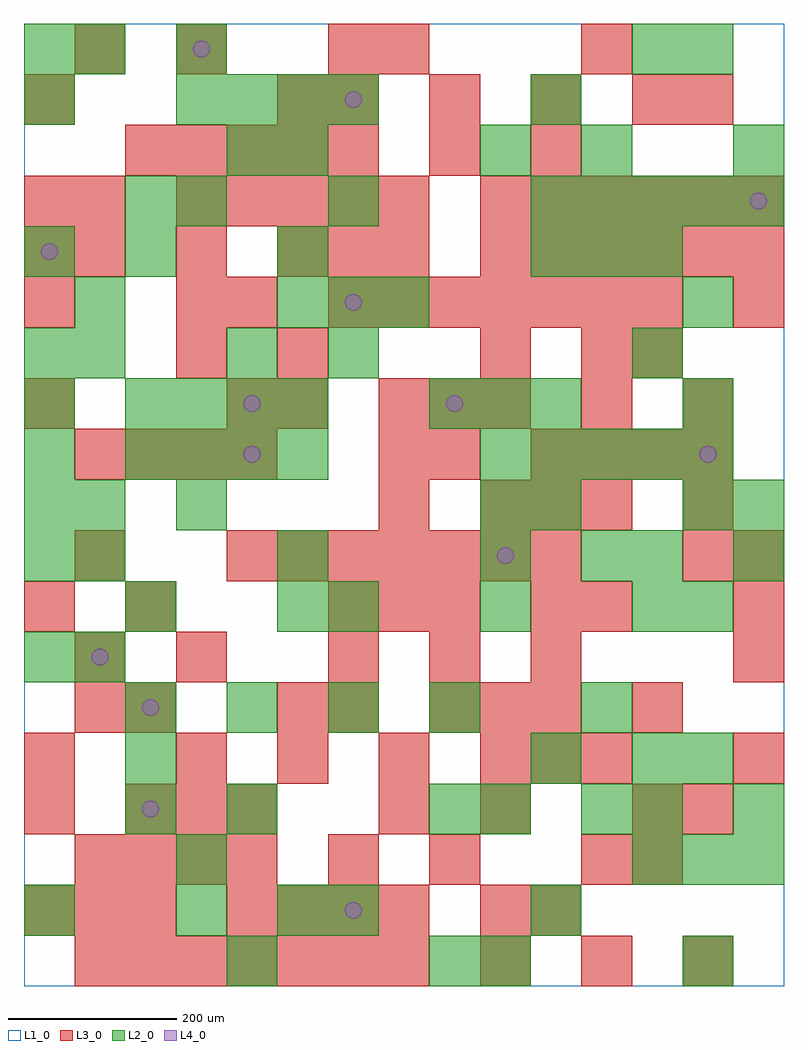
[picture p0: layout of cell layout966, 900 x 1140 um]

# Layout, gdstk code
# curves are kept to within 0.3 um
import gdstk
lib = gdstk.Library(unit=1e-6, precision=1e-09)
def R(c, l, rs):  # rectangles x0, y0, x1, y1
    for r in rs: c.add(gdstk.rectangle(r[:2], r[2:], *l))
def A(c, l, x, y, w, h, nx, ny, dx, dy):  # array of equal rectangles
    R(c, l, [(x+i*dx, y+j*dy, x+i*dx+w, y+j*dy+h) for i in range(nx) for j in range(ny)])
def P(c, l, *ps):  # polygons
    for p in ps: c.add(gdstk.Polygon(p, *l))
L1_0 = (1, 0)
L2_0 = (2, 0)
L3_0 = (3, 0)
L4_0 = (4, 0)

layout966 = lib.new_cell('layout966')
R(layout966, L1_0, [(0,0,900,1140)])
A(layout966, L2_0, 720, 120, 60, 60, 3, 1, 60, 0)
A(layout966, L2_0, 720, 240, 60, 60, 1, 3, 0, 240)
A(layout966, L2_0, 120, 300, 60, 60, 4, 1, 120, 0)
A(layout966, L2_0, 60, 360, 60, 60, 1, 3, 0, 180)
A(layout966, L2_0, 360, 420, 60, 60, 3, 1, 180, 0)
A(layout966, L2_0, 780, 420, 60, 60, 1, 4, 0, 120)
A(layout966, L2_0, 0, 480, 60, 60, 1, 5, 0, 60)
A(layout966, L2_0, 60, 480, 60, 60, 3, 1, 240, 0)
A(layout966, L2_0, 120, 600, 60, 60, 4, 2, 60, 60)
A(layout966, L2_0, 540, 600, 60, 60, 5, 1, 60, 0)
A(layout966, L2_0, 480, 660, 60, 60, 3, 1, 60, 0)
A(layout966, L2_0, 300, 780, 60, 60, 3, 1, 60, 0)
A(layout966, L2_0, 600, 840, 60, 60, 3, 1, 60, 0)
A(layout966, L2_0, 600, 900, 60, 60, 5, 1, 60, 0)
A(layout966, L2_0, 180, 1020, 60, 60, 4, 1, 60, 0)
R(layout966, L2_0, [(240,0,300,60), (480,0,540,60), (540,0,600,60), (780,0,840,60), (0,60,60,120), (180,60,240,120), (300,60,360,120), (360,60,420,120), (600,60,660,120), (180,120,240,180), (120,180,180,240), (240,180,300,240), (480,180,540,240), (540,180,600,240), (660,180,720,240), (720,180,780,240), (840,180,900,240), (120,240,180,300), (600,240,660,300), (780,240,840,300), (660,300,720,360), (0,360,60,420), (120,420,180,480), (300,420,360,480), (660,480,720,540), (840,480,900,540), (180,540,240,600), (540,540,600,600), (600,540,660,600), (840,540,900,600), (240,720,300,780), (360,720,420,780), (60,780,120,840), (0,840,60,900), (120,840,180,900), (300,840,360,900), (120,900,180,960), (180,900,240,960), (360,900,420,960), (240,960,300,1020), (300,960,360,1020), (540,960,600,1020), (660,960,720,1020), (840,960,900,1020), (0,1020,60,1080), (600,1020,660,1080), (0,1080,60,1140), (60,1080,120,1140), (180,1080,240,1140), (720,1080,780,1140), (780,1080,840,1140)])
A(layout966, L3_0, 60, 0, 60, 60, 7, 1, 60, 0)
A(layout966, L3_0, 540, 0, 60, 60, 3, 1, 120, 0)
A(layout966, L3_0, 0, 60, 60, 60, 3, 1, 60, 0)
A(layout966, L3_0, 240, 60, 60, 60, 4, 1, 60, 0)
A(layout966, L3_0, 600, 60, 60, 60, 1, 3, 0, 180)
A(layout966, L3_0, 60, 120, 60, 60, 4, 2, 60, 480)
A(layout966, L3_0, 120, 180, 60, 60, 3, 1, 60, 0)
A(layout966, L3_0, 180, 240, 60, 60, 4, 1, 120, 0)
A(layout966, L3_0, 480, 300, 60, 60, 3, 1, 60, 0)
A(layout966, L3_0, 360, 360, 60, 60, 3, 1, 120, 0)
A(layout966, L3_0, 840, 360, 60, 60, 1, 3, 0, 60)
A(layout966, L3_0, 360, 420, 60, 60, 3, 1, 60, 0)
A(layout966, L3_0, 240, 480, 60, 60, 7, 1, 60, 0)
A(layout966, L3_0, 540, 540, 60, 60, 3, 1, 60, 0)
A(layout966, L3_0, 420, 600, 60, 60, 1, 3, 0, 240)
A(layout966, L3_0, 600, 600, 60, 60, 4, 1, 60, 0)
A(layout966, L3_0, 420, 660, 60, 60, 3, 1, 60, 0)
A(layout966, L3_0, 0, 780, 60, 60, 1, 3, 0, 60)
A(layout966, L3_0, 360, 780, 60, 60, 7, 1, 60, 0)
A(layout966, L3_0, 60, 840, 60, 60, 3, 1, 120, 0)
A(layout966, L3_0, 540, 840, 60, 60, 6, 2, 60, 60)
A(layout966, L3_0, 180, 900, 60, 60, 5, 1, 60, 0)
A(layout966, L3_0, 120, 960, 60, 60, 5, 1, 60, 0)
A(layout966, L3_0, 360, 1020, 60, 60, 4, 1, 120, 0)
R(layout966, L3_0, [(540,60,600,120), (360,120,420,180), (480,120,540,180), (660,120,720,180), (720,120,780,180), (0,180,60,240), (420,180,480,240), (540,180,600,240), (720,180,780,240), (780,180,840,240), (0,240,60,300), (660,240,720,300), (840,240,900,300), (60,300,120,360), (120,300,180,360), (300,300,360,360), (360,300,420,360), (720,300,780,360), (60,360,120,420), (180,360,240,420), (0,420,60,480), (120,420,180,480), (660,420,720,480), (60,480,120,540), (780,480,840,540), (420,540,480,600), (780,540,840,600), (480,600,540,660), (0,660,60,720), (240,660,300,720), (300,660,360,720), (660,660,720,720), (780,660,840,720), (180,720,240,780), (300,720,360,780), (540,720,600,780), (660,720,720,780), (720,720,780,780), (180,780,240,840), (240,780,300,840), (840,780,900,840), (360,840,420,900), (60,900,120,960), (480,960,540,1020), (600,960,660,1020), (0,1020,60,1080), (300,1020,360,1080), (780,1020,840,1080), (60,1080,120,1140), (180,1080,240,1140), (360,1080,420,1140), (660,1080,720,1140)])
P(layout966, L4_0, [(40,870),(39.239,873.827),(37.071,877.071),(33.827,879.239),(30,880),(26.173,879.239),(22.929,877.071),(20.761,873.827),(20,870),(20.761,866.173),(22.929,862.929),(26.173,860.761),(30,860),(33.827,860.761),(37.071,862.929),(39.239,866.173)],
  [(100,390),(99.239,393.827),(97.071,397.071),(93.827,399.239),(90,400),(86.173,399.239),(82.929,397.071),(80.761,393.827),(80,390),(80.761,386.173),(82.929,382.929),(86.173,380.761),(90,380),(93.827,380.761),(97.071,382.929),(99.239,386.173)],
  [(160,210),(159.239,213.827),(157.071,217.071),(153.827,219.239),(150,220),(146.173,219.239),(142.929,217.071),(140.761,213.827),(140,210),(140.761,206.173),(142.929,202.929),(146.173,200.761),(150,200),(153.827,200.761),(157.071,202.929),(159.239,206.173)],
  [(160,330),(159.239,333.827),(157.071,337.071),(153.827,339.239),(150,340),(146.173,339.239),(142.929,337.071),(140.761,333.827),(140,330),(140.761,326.173),(142.929,322.929),(146.173,320.761),(150,320),(153.827,320.761),(157.071,322.929),(159.239,326.173)],
  [(220,1110),(219.239,1113.827),(217.071,1117.071),(213.827,1119.239),(210,1120),(206.173,1119.239),(202.929,1117.071),(200.761,1113.827),(200,1110),(200.761,1106.173),(202.929,1102.929),(206.173,1100.761),(210,1100),(213.827,1100.761),(217.071,1102.929),(219.239,1106.173)],
  [(280,630),(279.239,633.827),(277.071,637.071),(273.827,639.239),(270,640),(266.173,639.239),(262.929,637.071),(260.761,633.827),(260,630),(260.761,626.173),(262.929,622.929),(266.173,620.761),(270,620),(273.827,620.761),(277.071,622.929),(279.239,626.173)],
  [(280,690),(279.239,693.827),(277.071,697.071),(273.827,699.239),(270,700),(266.173,699.239),(262.929,697.071),(260.761,693.827),(260,690),(260.761,686.173),(262.929,682.929),(266.173,680.761),(270,680),(273.827,680.761),(277.071,682.929),(279.239,686.173)],
  [(400,90),(399.239,93.827),(397.071,97.071),(393.827,99.239),(390,100),(386.173,99.239),(382.929,97.071),(380.761,93.827),(380,90),(380.761,86.173),(382.929,82.929),(386.173,80.761),(390,80),(393.827,80.761),(397.071,82.929),(399.239,86.173)],
  [(400,810),(399.239,813.827),(397.071,817.071),(393.827,819.239),(390,820),(386.173,819.239),(382.929,817.071),(380.761,813.827),(380,810),(380.761,806.173),(382.929,802.929),(386.173,800.761),(390,800),(393.827,800.761),(397.071,802.929),(399.239,806.173)],
  [(400,1050),(399.239,1053.827),(397.071,1057.071),(393.827,1059.239),(390,1060),(386.173,1059.239),(382.929,1057.071),(380.761,1053.827),(380,1050),(380.761,1046.173),(382.929,1042.929),(386.173,1040.761),(390,1040),(393.827,1040.761),(397.071,1042.929),(399.239,1046.173)],
  [(520,690),(519.239,693.827),(517.071,697.071),(513.827,699.239),(510,700),(506.173,699.239),(502.929,697.071),(500.761,693.827),(500,690),(500.761,686.173),(502.929,682.929),(506.173,680.761),(510,680),(513.827,680.761),(517.071,682.929),(519.239,686.173)],
  [(580,510),(579.239,513.827),(577.071,517.071),(573.827,519.239),(570,520),(566.173,519.239),(562.929,517.071),(560.761,513.827),(560,510),(560.761,506.173),(562.929,502.929),(566.173,500.761),(570,500),(573.827,500.761),(577.071,502.929),(579.239,506.173)],
  [(820,630),(819.239,633.827),(817.071,637.071),(813.827,639.239),(810,640),(806.173,639.239),(802.929,637.071),(800.761,633.827),(800,630),(800.761,626.173),(802.929,622.929),(806.173,620.761),(810,620),(813.827,620.761),(817.071,622.929),(819.239,626.173)],
  [(880,930),(879.239,933.827),(877.071,937.071),(873.827,939.239),(870,940),(866.173,939.239),(862.929,937.071),(860.761,933.827),(860,930),(860.761,926.173),(862.929,922.929),(866.173,920.761),(870,920),(873.827,920.761),(877.071,922.929),(879.239,926.173)])

lib.write_gds('layout966.gds')
